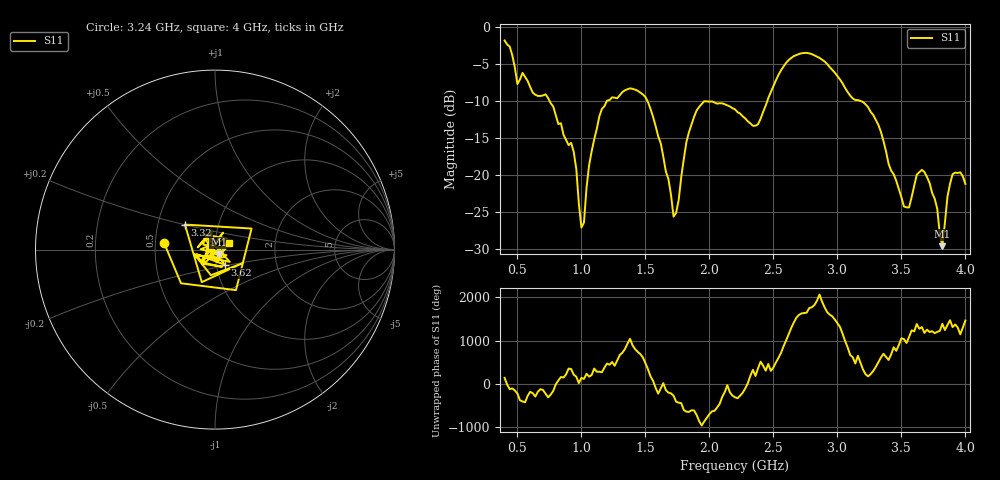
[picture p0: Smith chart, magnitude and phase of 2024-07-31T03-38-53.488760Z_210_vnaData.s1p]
!Created with skrf (http://scikit-rf.org).
# Hz S RI R 50.0
!freq ReS11 ImS11
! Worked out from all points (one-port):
!   181 points, 400 MHz to 4 GHz, reference 50 ohm
!   lowest |S11| = -29.6 dB at 3.82 GHz (marker M1), VSWR 1.07, Z = 52 - j2.73 ohm
!   |S11| at or under -10 dB: 751 MHz to 1.199 GHz (448.1 MHz wide, 46 % of centre); 1.515 GHz to 2.453 GHz (937.1 MHz wide, 47.2 % of centre); 3.178 GHz to end of sweep
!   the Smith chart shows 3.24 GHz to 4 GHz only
!   S11 on the Smith chart (normalised r, x): 3.24 GHz: 0.56, +0.05; 3.32 GHz: 0.69, +0.20; 3.62 GHz: 1.10, -0.19; 4 GHz: 1.17, +0.09
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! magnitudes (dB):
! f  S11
! 400 MHz  -1.9
! 500 MHz  -7.7
! 720 MHz  -9.1
! 860 MHz  -14.6
! 940 MHz  -16.9
! 1 GHz  -27.1
! 1.06 GHz  -18.7
! 1.14 GHz  -12.1
! 1.3 GHz  -9.2
! 1.5 GHz  -9.5
! 1.62 GHz  -15.7
! 1.72 GHz  -25.6
! 1.76 GHz  -23.3
! 1.82 GHz  -15.6
! 1.9 GHz  -11.3
! 2.2 GHz  -11.1
! 2.38 GHz  -13.1
! 2.66 GHz  -4.0
! 2.88 GHz  -4.4
! 3.1 GHz  -9.3
! 3.24 GHz  -10.8
! 3.32 GHz  -13.2
! 3.56 GHz  -24.4
! 3.62 GHz  -19.9
! 3.72 GHz  -21.0
! 3.82 GHz  -29.6
! 3.9 GHz  -19.9
! 4 GHz  -21.2
